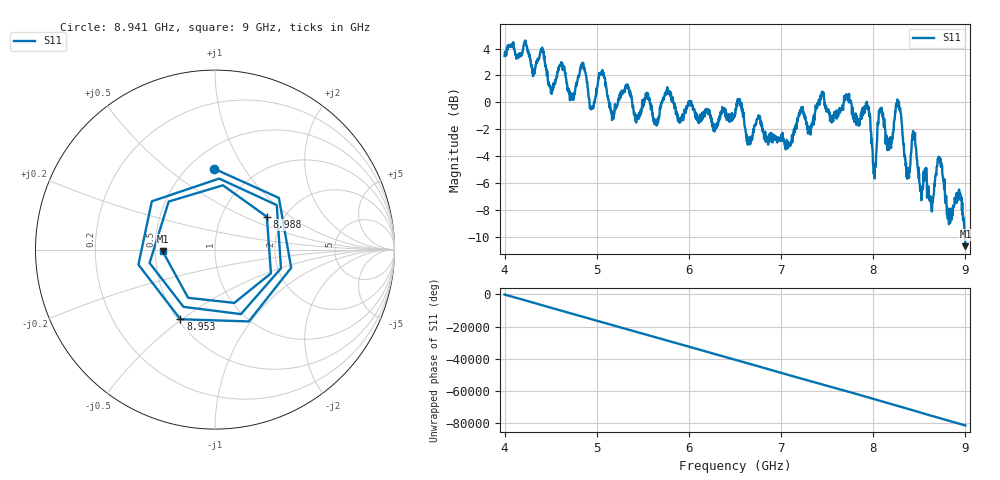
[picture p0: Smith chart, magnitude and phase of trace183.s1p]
! Created with skrf 1.8.0 (http://scikit-rf.org).
# Hz S RI R 50.0
!freq ReS11 ImS11
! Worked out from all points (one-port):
!   1601 points, 4 GHz to 9 GHz, reference 50 ohm
!   lowest |S11| = -10.7 dB at 9 GHz (marker M1), VSWR 1.82, Z = 27.4 - j0.587 ohm
!   |S11| at or under -10 dB: 8.993941 GHz to end of sweep
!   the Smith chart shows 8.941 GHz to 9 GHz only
!   S11 on the Smith chart (normalised r, x): 8.941 GHz: 0.66, +0.74; 8.953 GHz: 0.52, -0.49; 8.988 GHz: 1.64, +0.68; 9 GHz: 0.55, -0.01
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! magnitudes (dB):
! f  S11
! 4 GHz  3.4
! 4.406 GHz  4.0
! 4.503 GHz  0.7
! 4.625 GHz  2.9
! 4.728 GHz  0.3
! 4.844 GHz  2.9
! 4.944 GHz  -0.5
! 5.05 GHz  2.1
! 5.162 GHz  -0.8
! 5.25 GHz  0.5
! 5.875 GHz  -0.9
! 6.5 GHz  -0.8
! 7.125 GHz  -2.7
! 7.75 GHz  0.2
! 7.941 GHz  -0.2
! 8.012 GHz  -4.8
! 8.075 GHz  -0.7
! 8.175 GHz  -2.9
! 8.272 GHz  -0.3
! 8.375 GHz  -4.9
! 8.441 GHz  -2.6
! 8.625 GHz  -7.2
! 8.712 GHz  -4.4
! 8.825 GHz  -8.6
! 8.941 GHz  -6.9
! 8.953 GHz  -7.3
! 8.988 GHz  -9.3
! 9 GHz  -10.7
